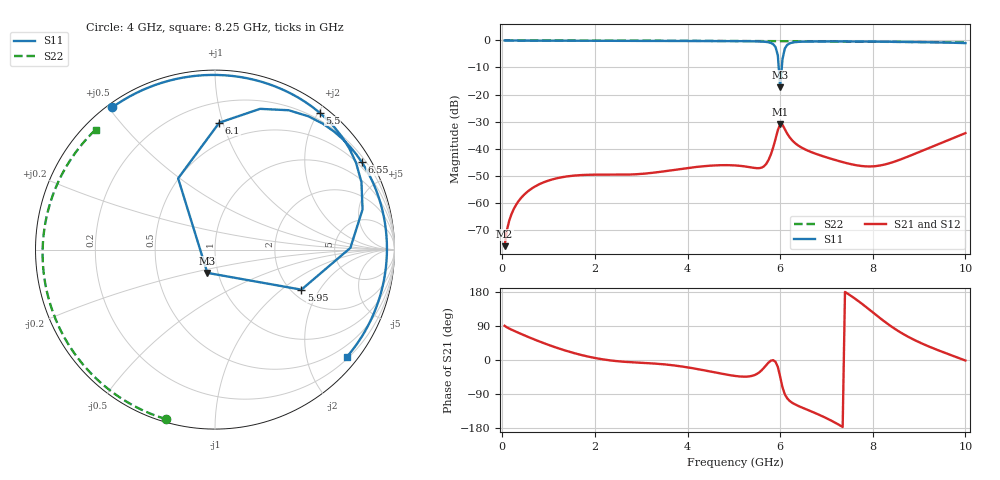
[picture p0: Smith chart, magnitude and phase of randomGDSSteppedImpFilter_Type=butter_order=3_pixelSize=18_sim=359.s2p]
! freq	dB(S11)	phase(S11)	dB(S12)	phase(S12)
!  dB(S21)	phase(S21)	dB(S22)	phase(S22)
!S-par simulation data
#  GHz  S  DB  R 50
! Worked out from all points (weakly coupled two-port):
!   200 points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, 50 MHz to 10 GHz, reference 50 ohm
!   highest |S21| = -30.97 dB at 6 GHz (marker M1); lowest = -76.0 dB at 50 MHz (marker M2)
!   lowest |S11| = -17.3 dB at 6 GHz (marker M3), VSWR 1.32, Z = 44.5 - j11.8 ohm
!   |S11| at or under -10 dB: 5.969 GHz to 6.035 GHz (66.34 MHz wide, 1.11 % of centre)
!   |S22| runs from -0.7 to 0.0 dB; largest |S21 - S12| = 0
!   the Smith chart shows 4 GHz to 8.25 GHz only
!   S11 on the Smith chart (normalised r, x): 4 GHz: 0.01, +0.51; 5.5 GHz: 0.10, +2.02; 5.95 GHz: 2.25, -1.40; 6.1 GHz: 0.34, +0.97; 6.55 GHz: 0.34, +3.59; 8.25 GHz: 0.24, -2.79
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0.05  -0.02 -4.1  -76.03 90.3  -76.03 90.3  -0.01 -1.4
0.2  -0.05 -15.9  -64.12 80.0  -64.12 80.0  -0.02 -5.6
0.5  -0.06 -39.1  -56.55 63.8  -56.55 63.8  -0.02 -13.9
1.1  -0.10 -82.3  -51.27 35.4  -51.27 35.4  -0.04 -30.4
1.75  -0.13 -123.1  -49.72 11.9  -49.72 11.9  -0.06 -48.0
2.55  -0.15 -166.0  -49.63 -3.9  -49.63 -3.9  -0.09 -69.1
3.4  -0.18 153.4  -48.59 -10.5  -48.59 -10.5  -0.12 -90.9
4  -0.20 125.9  -47.16 -19.4  -47.16 -19.4  -0.15 -106.0
5.05  -0.26 77.1  -46.23 -42.5  -46.23 -42.5  -0.20 -132.5
5.5  -0.35 52.6  -47.21 -36.6  -47.21 -36.6  -0.23 -144.0
5.85  -1.39 15.2  -39.52 -0.4  -39.52 -0.4  -0.26 -153.2
5.95  -5.50 -24.9  -33.18 -18.5  -33.18 -18.5  -0.27 -155.8
6  -17.29 -108.2  -30.97 -44.1  -30.97 -44.1  -0.28 -157.1
6.05  -6.99 117.4  -31.20 -71.9  -31.20 -71.9  -0.28 -158.5
6.1  -3.01 88.1  -32.77 -90.2  -32.77 -90.2  -0.29 -159.8
6.25  -0.85 55.0  -36.75 -112.1  -36.75 -112.1  -0.30 -163.9
6.55  -0.43 30.9  -40.38 -129.4  -40.38 -129.4  -0.33 -172.1
6.7  -0.39 22.8  -41.46 -137.0  -41.46 -137.0  -0.34 -176.4
8.25  -0.47 -39.2  -45.89 101.8  -45.89 101.8  -0.51 134.9
8.35  -0.49 -42.7  -45.44 92.8  -45.44 92.8  -0.52 131.3
9.25  -0.68 -72.8  -39.51 33.7  -39.51 33.7  -0.63 97.1
10  -0.99 -98.4  -34.26 -1.3  -34.26 -1.3  -0.71 65.7
